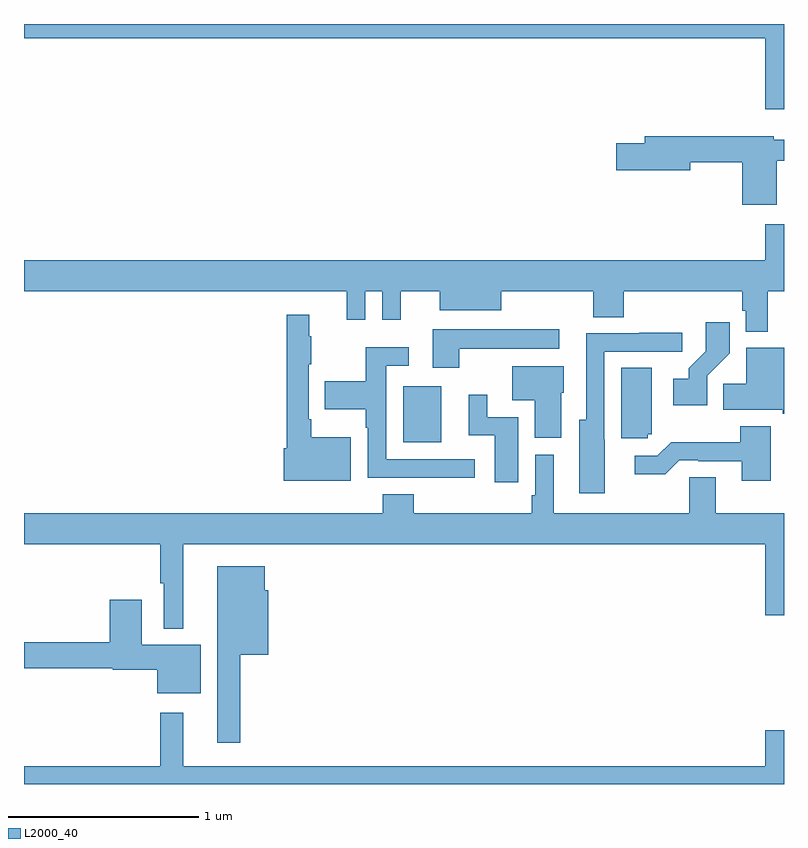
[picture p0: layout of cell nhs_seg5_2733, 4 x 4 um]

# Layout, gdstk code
import gdstk
lib = gdstk.Library(unit=1e-6, precision=1e-09)
def R(c, l, rs):  # rectangles x0, y0, x1, y1
    for r in rs: c.add(gdstk.rectangle(r[:2], r[2:], *l))
def P(c, l, *ps):  # polygons
    for p in ps: c.add(gdstk.Polygon(p, *l))
L2000_40 = (2000, 40)

nhs_seg5_2733 = lib.new_cell('nhs_seg5_2733')
R(nhs_seg5_2733, L2000_40, [(270.995,890.597,271.195,890.893)])
P(nhs_seg5_2733, L2000_40, [(273,892.799),(269,892.799),(269,892.724),(272.9,892.724),(272.9,892.35),(273,892.35)],
  [(272.963,892.08),(273,892.08),(273,892.189),(272.946,892.189),(272.946,892.208),(272.267,892.208),(272.267,892.172),(272.118,892.172),(272.118,892.03),(272.506,892.03),(272.506,892.072),(272.78,892.072),(272.78,891.849),(272.963,891.849)],
  [(272.915,891.392),(273,891.392),(273,891.745),(272.9,891.745),(272.9,891.556),(269,891.556),(269,891.392),(270.698,891.392),(270.698,891.243),(270.795,891.243),(270.795,891.392),(270.885,891.392),(270.885,891.243),(270.983,891.243),(270.983,891.392),(271.187,891.392),(271.187,891.293),(271.513,891.293),(271.513,891.392),(271.996,891.392),(271.996,891.256),(272.156,891.256),(272.156,891.392),(272.779,891.392),(272.779,891.291),(272.799,891.291),(272.799,891.179),(272.915,891.179)],
  [(270.721,890.623),(270.511,890.623),(270.511,890.719),(270.498,890.719),(270.498,891.007),(270.511,891.007),(270.511,891.155),(270.5,891.155),(270.5,891.268),(270.382,891.268),(270.382,890.567),(270.368,890.567),(270.368,890.396),(270.721,890.396)],
  [(272.595,890.947),(272.714,891.066),(272.714,891.229),(272.589,891.229),(272.589,891.077),(272.498,890.987),(272.498,890.932),(272.418,890.932),(272.418,890.792),(272.595,890.792)],
  [(271.291,891.089),(271.816,891.089),(271.816,891.193),(271.151,891.193),(271.151,890.991),(271.291,890.991)],
  [(272.056,890.612),(272.055,890.612),(272.055,891.075),(272.464,891.075),(272.464,891.174),(272.239,891.174),(272.239,891.171),(271.959,891.171),(271.959,890.716),(271.922,890.716),(271.922,890.328),(272.056,890.328)],
  [(271.372,890.508),(270.906,890.508),(270.906,891),(271.024,891),(271.024,891.097),(270.798,891.097),(270.798,890.919),(270.583,890.919),(270.583,890.771),(270.798,890.771),(270.798,890.675),(270.81,890.675),(270.81,890.412),(271.135,890.412),(271.135,890.411),(271.372,890.411)],
  [(273,891.094),(272.801,891.094),(272.801,890.906),(272.68,890.906),(272.68,890.768),(272.994,890.768),(272.994,890.747),(273,890.747)],
  [(271.828,890.859),(271.84,890.859),(271.84,890.998),(271.571,890.998),(271.571,890.819),(271.688,890.819),(271.688,890.622),(271.828,890.622)],
  [(272.283,890.64),(272.305,890.64),(272.305,890.989),(272.144,890.989),(272.144,890.619),(272.283,890.619)],
  [(271.6,890.73),(271.438,890.73),(271.438,890.848),(271.34,890.848),(271.34,890.634),(271.478,890.634),(271.478,890.388),(271.6,890.388)],
  [(272.93,890.683),(272.77,890.683),(272.77,890.599),(272.407,890.599),(272.334,890.526),(272.214,890.526),(272.214,890.429),(272.375,890.429),(272.448,890.502),(272.548,890.502),(272.548,890.499),(272.777,890.499),(272.777,890.394),(272.93,890.394)],
  [(269.839,890.06),(272.9,890.06),(272.9,889.686),(273,889.686),(273,890.224),(272.641,890.224),(272.641,890.414),(272.502,890.414),(272.502,890.224),(271.789,890.224),(271.789,890.533),(271.692,890.533),(271.692,890.32),(271.672,890.32),(271.672,890.224),(271.052,890.224),(271.052,890.323),(270.887,890.323),(270.887,890.224),(269,890.224),(269,890.06),(269.718,890.06),(269.718,889.855),(269.735,889.855),(269.735,889.616),(269.839,889.616)],
  [(270.139,889.478),(270.286,889.478),(270.286,889.818),(270.268,889.818),(270.268,889.945),(270.017,889.945),(270.017,889.017),(270.139,889.017)],
  [(269.929,889.531),(269.62,889.531),(269.62,889.768),(269.45,889.768),(269.45,889.544),(269,889.544),(269,889.408),(269.466,889.408),(269.466,889.4),(269.702,889.4),(269.702,889.277),(269.929,889.277)],
  [(273,889.081),(272.9,889.081),(272.9,888.892),(269.839,888.892),(269.839,889.174),(269.718,889.174),(269.718,888.892),(269,888.892),(269,888.799),(273,888.799)])

lib.write_gds('nhs_seg5_2733.gds')
